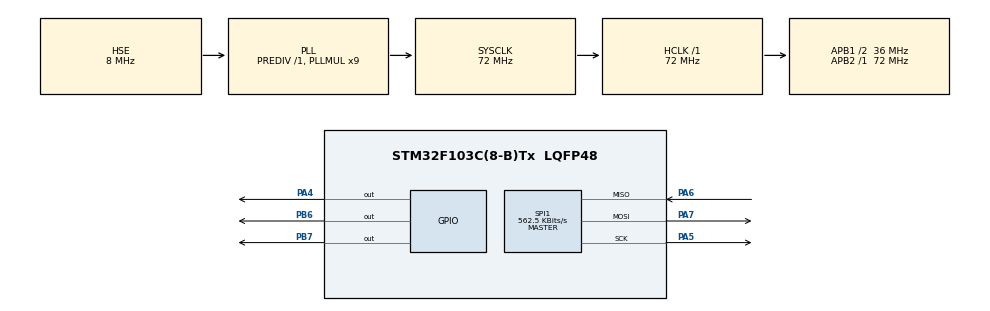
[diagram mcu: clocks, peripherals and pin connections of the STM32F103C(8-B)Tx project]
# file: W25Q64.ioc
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Mcu.Family=STM32F1
Mcu.Name=STM32F103C(8-B)Tx
Mcu.Package=LQFP48
NVIC.PriorityGroup=NVIC_PRIORITYGROUP_4
PA13.Mode=Serial_Wire
PA13.Signal=SYS_JTMS-SWDIO
PA14.Mode=Serial_Wire
PA14.Signal=SYS_JTCK-SWCLK
PA4.PinState=GPIO_PIN_RESET
PA4.Signal=GPIO_Output
PA5.Mode=Full_Duplex_Master
PA5.Signal=SPI1_SCK
PA6.Mode=Full_Duplex_Master
PA6.Signal=SPI1_MISO
PA7.Mode=Full_Duplex_Master
PA7.Signal=SPI1_MOSI
PB6.GPIO_ModeDefaultOutputPP=GPIO_MODE_OUTPUT_OD
PB6.GPIO_PuPd=GPIO_NOPULL
PB6.Signal=GPIO_Output
PB7.GPIO_ModeDefaultOutputPP=GPIO_MODE_OUTPUT_OD
PB7.GPIO_PuPd=GPIO_NOPULL
PB7.Signal=GPIO_Output
PD0-OSC_IN.Mode=HSE-External-Oscillator
PD0-OSC_IN.Signal=RCC_OSC_IN
PD1-OSC_OUT.Mode=HSE-External-Oscillator
PD1-OSC_OUT.Signal=RCC_OSC_OUT
ProjectManager.HeapSize=0x200
ProjectManager.StackSize=0x400
ProjectManager.TargetToolchain=CMake
RCC.AHBFreq_Value=72000000
RCC.APB1CLKDivider=RCC_HCLK_DIV2
RCC.APB1Freq_Value=36000000
RCC.APB1TimFreq_Value=72000000
RCC.APB2Freq_Value=72000000
RCC.APB2TimFreq_Value=72000000
RCC.HCLKFreq_Value=72000000
RCC.PLLMUL=RCC_PLL_MUL9
RCC.PLLSourceVirtual=RCC_PLLSOURCE_HSE
RCC.SYSCLKFreq_VALUE=72000000
RCC.SYSCLKSource=RCC_SYSCLKSOURCE_PLLCLK
RCC.USBFreq_Value=72000000
SPI1.BaudRatePrescaler=SPI_BAUDRATEPRESCALER_128
SPI1.CalculateBaudRate=562.5 KBits/s
SPI1.Direction=SPI_DIRECTION_2LINES
SPI1.Mode=SPI_MODE_MASTER
SPI1.VirtualType=VM_MASTER
board=custom

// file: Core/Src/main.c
/* USER CODE BEGIN Header */
/**
  ******************************************************************************
  * @file           : main.c
  * @brief          : Main program body
  ******************************************************************************
  * @attention
  *
  * Copyright (c) 2026 STMicroelectronics.
  * All rights reserved.
  *
  * This software is licensed under terms that can be found in the LICENSE file
  * in the root directory of this software component.
  * If no LICENSE file comes with this software, it is provided AS-IS.
  *
  ******************************************************************************
  */
/* USER CODE END Header */
#include "main.h"
#include "spi.h"
#include "gpio.h"

/* USER CODE BEGIN Includes */
#include "oled.h"
#include "W25Q64.h"
/* USER CODE END Includes */

/* USER CODE BEGIN PV */
uint8_t MID;
uint16_t DID;
uint8_t ArrayWrite[] = {0x55, 0x66, 0x77, 0x88};
uint8_t ArrayRead[4];
/* USER CODE END PV */

void SystemClock_Config(void);

int main(void)
{

  /* MCU Configuration--------------------------------------------------------*/

  /* Reset of all peripherals, Initializes the Flash interface and the Systick. */
  HAL_Init();

  /* Configure the system clock */
  SystemClock_Config();

  /* Initialize all configured peripherals */
  MX_GPIO_Init();
  MX_SPI1_Init();
  /* USER CODE BEGIN 2 */
  // OLED、W25Q64初始化
  OLED_Init();
  W25Q64_Init();

  // 显示固定标题文字
  OLED_ShowString(1, 1, "MID:    DID:");
  OLED_ShowString(2, 1, "W:");
  OLED_ShowString(3, 1, "R:");

  // 读取W25Q64厂商ID、设备ID并显示
  W25Q64_ReadID(&MID, &DID);
  OLED_ShowHexNum(1, 5, MID, 2);
  OLED_ShowHexNum(1, 12, DID, 4);

  // 扇区擦除、页编程写入数据、读取数据
  W25Q64_SectorErase(0X00000);
  W25Q64_PageProgram(0X00000, ArrayWrite, 4);
  W25Q64_ReadData(0X00000, ArrayRead, 4);

  // 显示写入的数据
  OLED_ShowHexNum(2, 3, ArrayWrite[0], 2);
  OLED_ShowHexNum(2, 6, ArrayWrite[1], 2);
  OLED_ShowHexNum(2, 9, ArrayWrite[2], 2);
  OLED_ShowHexNum(2, 12, ArrayWrite[3], 2);

  // 显示读取回来的数据
  OLED_ShowHexNum(3, 3, ArrayRead[0], 2);
  OLED_ShowHexNum(3, 6, ArrayRead[1], 2);
  OLED_ShowHexNum(3, 9, ArrayRead[2], 2);
  OLED_ShowHexNum(3, 12, ArrayRead[3], 2);
  /* USER CODE END 2 */

  /* Infinite loop */
  while (1)
  {

  }
}

void SystemClock_Config(void)
{
  RCC_OscInitTypeDef RCC_OscInitStruct = {0};
  RCC_ClkInitTypeDef RCC_ClkInitStruct = {0};

  /** Initializes the RCC Oscillators according to the specified parameters
  * in the RCC_OscInitTypeDef structure.
  */
  RCC_OscInitStruct.OscillatorType = RCC_OSCILLATORTYPE_HSE;
  RCC_OscInitStruct.HSEState = RCC_HSE_ON;
  RCC_OscInitStruct.HSEPredivValue = RCC_HSE_PREDIV_DIV1;
  RCC_OscInitStruct.HSIState = RCC_HSI_ON;
  RCC_OscInitStruct.PLL.PLLState = RCC_PLL_ON;
  RCC_OscInitStruct.PLL.PLLSource = RCC_PLLSOURCE_HSE;
  RCC_OscInitStruct.PLL.PLLMUL = RCC_PLL_MUL9;
  if (HAL_RCC_OscConfig(&RCC_OscInitStruct) != HAL_OK)
  {
    Error_Handler();
  }

  /** Initializes the CPU, AHB and APB buses clocks
  */
  RCC_ClkInitStruct.ClockType = RCC_CLOCKTYPE_HCLK|RCC_CLOCKTYPE_SYSCLK
                              |RCC_CLOCKTYPE_PCLK1|RCC_CLOCKTYPE_PCLK2;
  RCC_ClkInitStruct.SYSCLKSource = RCC_SYSCLKSOURCE_PLLCLK;
  RCC_ClkInitStruct.AHBCLKDivider = RCC_SYSCLK_DIV1;
  RCC_ClkInitStruct.APB1CLKDivider = RCC_HCLK_DIV2;
  RCC_ClkInitStruct.APB2CLKDivider = RCC_HCLK_DIV1;

  if (HAL_RCC_ClockConfig(&RCC_ClkInitStruct, FLASH_LATENCY_2) != HAL_OK)
  {
    Error_Handler();
  }
}

void Error_Handler(void)
{
  __disable_irq();
  while (1)
  {
  }
}
